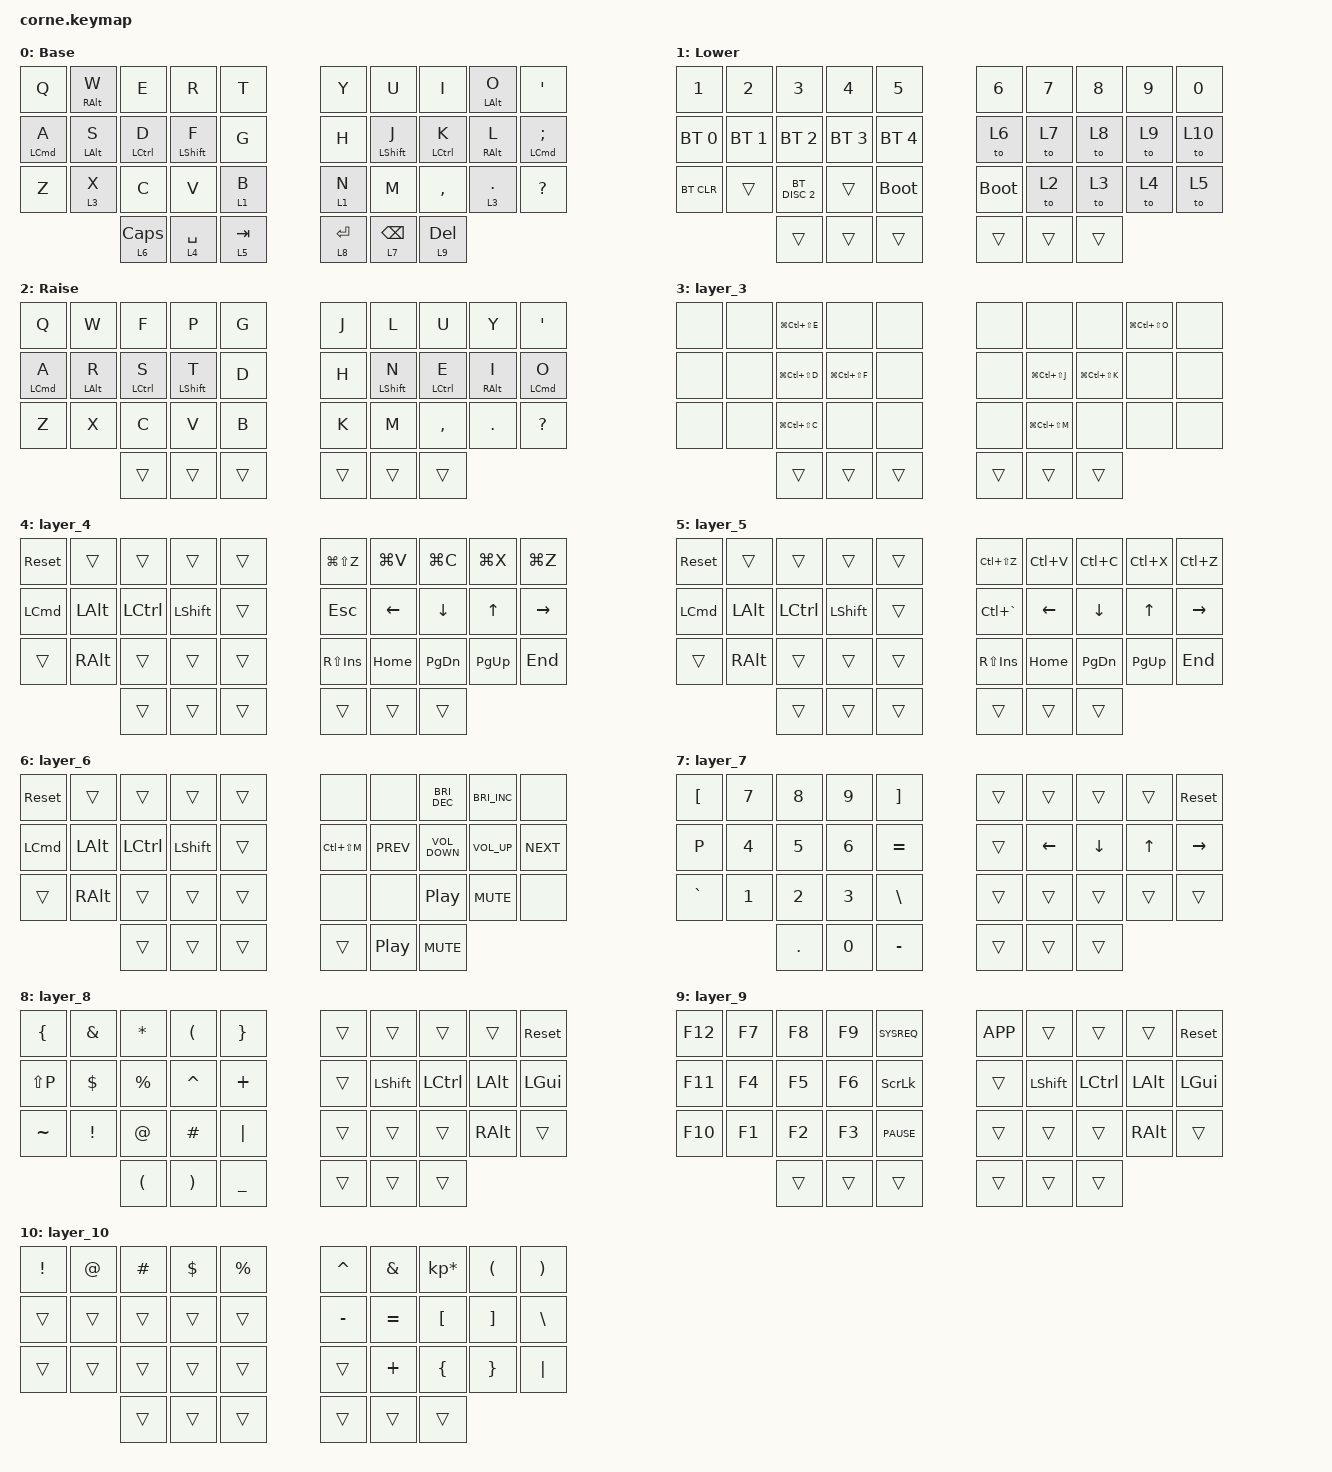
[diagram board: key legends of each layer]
/*
 * Copyright (c) 2020 The ZMK Contributors
 *
 * SPDX-License-Identifier: MIT
 */

#include <behaviors.dtsi>
#include <dt-bindings/zmk/bt.h>
#include <dt-bindings/zmk/keys.h>

/ {
    chosen { zmk,matrix_transform = &five_column_transform; };
};

/ {
    behaviors {
        hold_layer: hold_layer {
            compatible = "zmk,behavior-hold-tap";
            label = "HOLD_LAYER";
            bindings = <&mo>, <&kp>;

            #binding-cells = <2>;
            tapping-term-ms = <175>;
            flavor = "tap-preferred";
            quick-tap-ms = <250>;
        };

        hold_tap: hold_tap {
            compatible = "zmk,behavior-hold-tap";
            label = "HOLD_TAP";
            bindings = <&kp>, <&kp>;

            #binding-cells = <2>;
            tapping-term-ms = <250>;
            flavor = "tap-preferred";
        };

        hmr: hmr {
            compatible = "zmk,behavior-hold-tap";
            label = "HMR";
            bindings = <&kp>, <&kp>;

            #binding-cells = <2>;
            tapping-term-ms = <230>;
            quick-tap-ms = <175>;
            require-prior-idle-ms = <150>;
            flavor = "balanced";
            hold-trigger-key-positions = <0 1 2 3 4 10 11 12 13 14 20 21 22 23 24 30 31 32 33 34 35>;
            hold-trigger-on-release;
        };

        hml: hml {
            compatible = "zmk,behavior-hold-tap";
            label = "HML";
            bindings = <&kp>, <&kp>;

            #binding-cells = <2>;
            tapping-term-ms = <230>;
            quick-tap-ms = <175>;
            require-prior-idle-ms = <150>;
            flavor = "balanced";
            hold-trigger-on-release;
            hold-trigger-key-positions = <5 6 7 8 9 15 16 17 18 19 25 26 27 28 29 33 34 35 30 31 32>;
        };

        lpar_lt: lpar_lt {
            compatible = "zmk,behavior-mod-morph";
            label = "LPAR_LT";
            bindings = <&kp LPAR>, <&kp LT>;

            #binding-cells = <0>;
            mods = <(MOD_LSFT)>;
        };

        hmr_lpar_lt: hmr_lpar_lt {
            compatible = "zmk,behavior-hold-tap";
            label = "HMR_LPAR_LT";
            bindings = <&kp>, <&lpar_lt>;

            #binding-cells = <2>;
            tapping-term-ms = <280>;
            quick-tap-ms = <175>;
            require-prior-idle-ms = <150>;
            flavor = "balanced";
            hold-trigger-key-positions = <0 1 2 3 4 10 11 12 13 14 20 21 22 23 24 30 31 32 33 34 35>;
            hold-trigger-on-release;
        };

        rpar_gt: rpar_gt {
            compatible = "zmk,behavior-mod-morph";
            label = "RPAR_GT";
            bindings = <&kp RPAR>, <&kp GT>;

            #binding-cells = <0>;
            mods = <(MOD_LSFT)>;
        };

        hmr_rpar_gt: hmr_rpar_gt {
            compatible = "zmk,behavior-hold-tap";
            label = "HMR_RPAR_GT";
            bindings = <&kp>, <&rpar_gt>;

            #binding-cells = <2>;
            tapping-term-ms = <280>;
            quick-tap-ms = <175>;
            require-prior-idle-ms = <150>;
            flavor = "balanced";
            hold-trigger-key-positions = <0 1 2 3 4 10 11 12 13 14 20 21 22 23 24 30 31 32 33 34 35>;
            hold-trigger-on-release;
        };

        lbkt_lbrc: lbkt_lbrc {
            compatible = "zmk,behavior-mod-morph";
            label = "LBKT_LBRC";
            bindings = <&kp LBKT>, <&kp LBRC>;

            #binding-cells = <0>;
            mods = <(MOD_LSFT)>;
        };

        rbkt_rbrc: rbkt_rbrc {
            compatible = "zmk,behavior-mod-morph";
            label = "RBKT_RBRC";
            bindings = <&kp RBKT>, <&kp RBRC>;

            #binding-cells = <0>;
            mods = <(MOD_LSFT)>;
        };

        hml_repeat: hml_repeat {
            compatible = "zmk,behavior-hold-tap";
            label = "HML_REPEAT";
            bindings = <&kp>, <&key_repeat>;

            #binding-cells = <2>;
            tapping-term-ms = <280>;
            quick-tap-ms = <175>;
            require-prior-idle-ms = <150>;
            flavor = "balanced";
            hold-trigger-on-release;
            hold-trigger-key-positions = <5 6 7 8 9 15 16 17 18 19 25 26 27 28 29 33 34 35 32 31 30>;
        };
    };

    combos {
        compatible = "zmk,combos";

        base_layer {
            bindings = <&to 0>;
            key-positions = <23 26>;
            layers = <1 2 3 4 5 6 7 8 9 10>;
        };

        lower_layer {
            bindings = <&to 1>;
            key-positions = <23 26>;
            layers = <0>;
            timeout-ms = <25>;
        };

        num_layer {
            bindings = <&to 7>;
            key-positions = <3 4>;
        };

        caps_word {
            bindings = <&caps_word>;
            key-positions = <14 15>;
        };

        lock_screen {
            bindings = <&kp LC(LG(Q))>;
            key-positions = <0 9>;
        };

        cut {
            bindings = <&kp LG(X)>;
            key-positions = <6 8>;
        };

        copy {
            bindings = <&kp LG(C)>;
            key-positions = <6 7>;
        };

        paste {
            bindings = <&kp LG(V)>;
            key-positions = <7 8>;
        };

        lpar {
            bindings = <&hmr_lpar_lt RS(LCTRL) 0>;
            key-positions = <16 17>;
        };

        rpar {
            bindings = <&hmr_rpar_gt RS(LALT) 0>;
            key-positions = <17 18>;
        };

        lbkt {
            bindings = <&lbkt_lbrc>;
            key-positions = <26 27>;
        };

        rbkt {
            bindings = <&rbkt_rbrc>;
            key-positions = <27 28>;
        };

        caret {
            bindings = <&kp CARET>;
            key-positions = <5 15>;
        };

        plus {
            bindings = <&kp PLUS>;
            key-positions = <6 16>;
        };

        star {
            bindings = <&kp STAR>;
            key-positions = <7 17>;
        };

        amps {
            bindings = <&kp AMPS>;
            key-positions = <8 18>;
        };

        under {
            bindings = <&kp UNDER>;
            key-positions = <15 25>;
        };

        minus {
            bindings = <&kp MINUS>;
            key-positions = <26 16>;
        };

        fslh {
            bindings = <&kp FSLH>;
            key-positions = <17 27>;
        };

        pipe {
            bindings = <&kp PIPE>;
            key-positions = <18 28>;
        };

        backspace {
            bindings = <&kp BACKSPACE>;
            key-positions = <1 2>;
        };

        enter {
            bindings = <&kp ENTER>;
            key-positions = <2 3>;
        };

        tab {
            bindings = <&hml LS(LALT) TAB>;
            key-positions = <11 12>;
        };

        repeat {
            bindings = <&hml_repeat LS(LCTRL) 0>;
            key-positions = <12 13>;
        };

        space {
            bindings = <&kp SPACE>;
            key-positions = <14 13>;
        };

        cut_win {
            bindings = <&kp LC(X)>;
            key-positions = <23 21>;
        };

        copy_win {
            bindings = <&kp LC(INS)>;
            key-positions = <21 22>;
        };

        paste_win {
            bindings = <&kp LS(INS)>;
            key-positions = <23 22>;
        };

        at {
            bindings = <&kp AT>;
            key-positions = <1 11>;
        };

        hash {
            bindings = <&kp HASH>;
            key-positions = <2 12>;
        };

        dllr {
            bindings = <&kp DLLR>;
            key-positions = <3 13>;
        };

        prcnt {
            bindings = <&kp PRCNT>;
            key-positions = <4 14>;
        };

        grave {
            bindings = <&kp GRAVE>;
            key-positions = <11 21>;
        };

        bslh {
            bindings = <&kp BSLH>;
            key-positions = <12 22>;
        };

        equal {
            bindings = <&kp EQUAL>;
            key-positions = <13 23>;
        };

        tilde {
            bindings = <&kp TILDE>;
            key-positions = <14 24>;
        };

        tmux_leading {
            bindings = <&kp LC(A)>;
            key-positions = <34 31>;
        };

        R_in_pipe {
            bindings = <&R_in_pipe>;
            key-positions = <16 18>;
        };

        R_pipe {
            bindings = <&R_pipe>;
            key-positions = <3 16>;
        };
    };

    macros {
        R_in_pipe: R_in_pipe {
            compatible = "zmk,behavior-macro";
            #binding-cells = <0>;
            bindings = <&none &kp PRCNT &kp L &kp J &kp PRCNT>;
            label = "R_IN_PIPE";
        };

        R_pipe: R_pipe {
            compatible = "zmk,behavior-macro";
            #binding-cells = <0>;
            bindings = <&none &kp PRCNT &kp GT &kp PRCNT>;
            label = "R_PIPE";
        };
    };

    keymap {
        compatible = "zmk,keymap";

        default_layer {
            // -----------------------------------------------------------------------------------------
            // |  TAB |  Q  |  W  |  E  |  R  |  T  |   |  Y  |  U   |  I  |  O  |  P  | BKSP |
            // | CTRL |  A  |  S  |  D  |  F  |  G  |   |  H  |  J   |  K  |  L  |  ;  |  '   |
            // | SHFT |  Z  |  X  |  C  |  V  |  B  |   |  N  |  M   |  ,  |  .  |  /  | ESC  |
            //                    | GUI | LWR | SPC |   | ENT | RSE  | ALT |

            label = "Base";
            bindings = <
  &kp Q        &hml RALT W      &kp E               &kp R                &kp T                &kp Y                &kp U                    &kp I              &hmr LALT O        &kp SQT
  &hml LCMD A  &hml LALT S      &hml LCTRL D        &hml LEFT_SHIFT F    &kp G                &kp H                &hmr LEFT_SHIFT J        &hmr LCTRL K       &hmr RALT L        &hmr LCMD SEMI
  &kp Z        &hold_layer 3 X  &kp C               &kp V                &hold_layer 1 B      &hold_layer 1 N      &kp M                    &kp COMMA          &hold_layer 3 DOT  &kp QUESTION
                                &hold_layer 6 CAPS  &hold_layer 4 SPACE  &hold_layer 5 TAB    &hold_layer 8 ENTER  &hold_layer 7 BACKSPACE  &hold_layer 9 DEL
            >;
        };

        lower_layer {
            // -----------------------------------------------------------------------------------------
            // |  TAB |  1  |  2  |  3  |  4  |  5  |   |  6  |  7  |  8  |  9  |  0  | BKSP |
            // | BTCLR| BT1 | BT2 | BT3 | BT4 | BT5 |   | LFT | DWN |  UP | RGT |     |      |
            // | SHFT |     |     |     |     |     |   |     |     |     |     |     |      |
            //                    |BTCLR|     | SPC |   | ENT |     | ALT |

            label = "Lower";
            bindings = <
  &kp N1        &kp N2        &kp N3         &kp N4        &kp N5          &kp N6       &kp N7  &kp N8  &kp N9  &kp N0
  &bt BT_SEL 0  &bt BT_SEL 1  &bt BT_SEL 2   &bt BT_SEL 3  &bt BT_SEL 4    &to 6        &to 7   &to 8   &to 9   &to 10
  &bt BT_CLR    &trans        &bt BT_DISC 2  &trans        &bootloader     &bootloader  &to 2   &to 3   &to 4   &to 5
                              &trans         &trans        &trans          &trans       &trans  &trans
            >;
        };

        raise_layer {
            // -----------------------------------------------------------------------------------------
            // |  TAB |  !  |  @  |  #  |  $  |  %  |   |  ^  |  &  |  *  |  (  |  )  | BKSP |
            // | CTRL |     |     |     |     |     |   |  -  |  =  |  [  |  ]  |  \  |  `   |
            // | SHFT |     |     |     |     |     |   |  _  |  +  |  {  |  }  | "|" |  ~   |
            //                    | GUI |     | SPC |   | ENT |     | ALT |

            label = "Raise";
            bindings = <
  &kp Q        &kp W        &kp F         &kp P              &kp G     &kp J   &kp L              &kp U         &kp Y        &kp SQT
  &hml LCMD A  &hml LALT R  &hml LCTRL S  &hml LEFT_SHIFT T  &kp D     &kp H   &hmr LEFT_SHIFT N  &hmr LCTRL E  &hmr RALT I  &hmr LCMD O
  &kp Z        &kp X        &kp C         &kp V              &kp B     &kp K   &kp M              &kp COMMA     &kp DOT      &kp QUESTION
                            &trans        &trans             &trans    &trans  &trans             &trans
            >;
        };

        layer_3 {
            bindings = <
  &none  &none  &kp LG(LC(LS(E)))  &none              &none     &none   &none              &none              &kp LG(LC(LS(O)))  &none
  &none  &none  &kp LG(LC(LS(D)))  &kp LG(LC(LS(F)))  &none     &none   &kp LG(LC(LS(J)))  &kp LG(LC(LS(K)))  &none              &none
  &none  &none  &kp LG(LC(LS(C)))  &none              &none     &none   &kp LG(LC(LS(M)))  &none              &none              &none
                &trans             &trans             &trans    &trans  &trans             &trans
            >;
        };

        layer_4 {
            bindings = <
  &sys_reset  &trans         &trans     &trans          &trans    &kp LG(LS(Z))  &kp LG(V)  &kp LG(C)  &kp LG(X)  &kp LG(Z)
  &kp LCMD    &kp LEFT_ALT   &kp LCTRL  &kp LEFT_SHIFT  &trans    &kp ESC        &kp LEFT   &kp DOWN   &kp UP     &kp RIGHT
  &trans      &kp RIGHT_ALT  &trans     &trans          &trans    &kp RS(INS)    &kp HOME   &kp PG_DN  &kp PG_UP  &kp END
                             &trans     &trans          &trans    &trans         &trans     &trans
            >;
        };

        layer_5 {
            bindings = <
  &sys_reset  &trans         &trans     &trans          &trans    &kp LC(LS(Z))  &kp LC(V)  &kp LC(C)  &kp LC(X)  &kp LC(Z)
  &kp LCMD    &kp LEFT_ALT   &kp LCTRL  &kp LEFT_SHIFT  &trans    &kp LC(GRAVE)  &kp LEFT   &kp DOWN   &kp UP     &kp RIGHT
  &trans      &kp RIGHT_ALT  &trans     &trans          &trans    &kp RS(INS)    &kp HOME   &kp PG_DN  &kp PG_UP  &kp END
                             &trans     &trans          &trans    &trans         &trans     &trans
            >;
        };

        layer_6 {
            bindings = <
  &sys_reset  &trans         &trans     &trans          &trans    &none          &none       &kp C_BRIGHTNESS_DEC  &kp C_BRIGHTNESS_INC  &none
  &kp LCMD    &kp LEFT_ALT   &kp LCTRL  &kp LEFT_SHIFT  &trans    &kp LC(LS(M))  &kp C_PREV  &kp C_VOLUME_DOWN     &kp C_VOL_UP          &kp C_NEXT
  &trans      &kp RIGHT_ALT  &trans     &trans          &trans    &none          &none       &kp C_PP              &kp C_MUTE            &none
                             &trans     &trans          &trans    &trans         &kp C_PP    &kp C_MUTE
            >;
        };

        layer_7 {
            bindings = <
  &kp LBKT   &kp N7  &kp N8   &kp N9  &kp RBKT     &trans  &trans    &trans    &trans  &sys_reset
  &kp P      &kp N4  &kp N5   &kp N6  &kp EQUAL    &trans  &kp LEFT  &kp DOWN  &kp UP  &kp RIGHT
  &kp GRAVE  &kp N1  &kp N2   &kp N3  &kp BSLH     &trans  &trans    &trans    &trans  &trans
                     &kp DOT  &kp N0  &kp MINUS    &trans  &trans    &trans
            >;
        };

        layer_8 {
            bindings = <
  &kp LEFT_BRACE  &kp AMPS    &kp STAR              &kp LEFT_PARENTHESIS   &kp RIGHT_BRACE    &trans  &trans     &trans     &trans    &sys_reset
  &kp LS(P)       &kp DOLLAR  &kp PERCENT           &kp CARET              &kp PLUS           &trans  &kp LSHFT  &kp LCTRL  &kp LALT  &kp LGUI
  &kp TILDE       &kp EXCL    &kp AT                &kp HASH               &kp PIPE           &trans  &trans     &trans     &kp RALT  &trans
                              &kp LEFT_PARENTHESIS  &kp RIGHT_PARENTHESIS  &kp UNDER          &trans  &trans     &trans
            >;
        };

        layer_9 {
            bindings = <
  &kp F12  &kp F7  &kp F8  &kp F9  &kp SYSREQ        &kp K_APP  &trans     &trans     &trans    &sys_reset
  &kp F11  &kp F4  &kp F5  &kp F6  &kp SCROLLLOCK    &trans     &kp LSHFT  &kp LCTRL  &kp LALT  &kp LGUI
  &kp F10  &kp F1  &kp F2  &kp F3  &kp C_PAUSE       &trans     &trans     &trans     &kp RALT  &trans
                   &trans  &trans  &trans            &trans     &trans     &trans
            >;
        };

        layer_10 {
            bindings = <
  &kp EXCL  &kp AT  &kp HASH  &kp DLLR  &kp PRCNT    &kp CARET  &kp AMPS   &kp KP_MULTIPLY  &kp LPAR  &kp RPAR
  &trans    &trans  &trans    &trans    &trans       &kp MINUS  &kp EQUAL  &kp LBKT         &kp RBKT  &kp BSLH
  &trans    &trans  &trans    &trans    &trans       &trans     &kp PLUS   &kp LBRC         &kp RBRC  &kp PIPE
                    &trans    &trans    &trans       &trans     &trans     &trans
            >;
        };
    };
};
